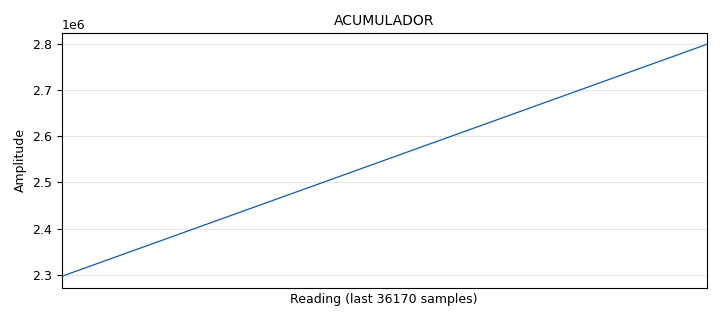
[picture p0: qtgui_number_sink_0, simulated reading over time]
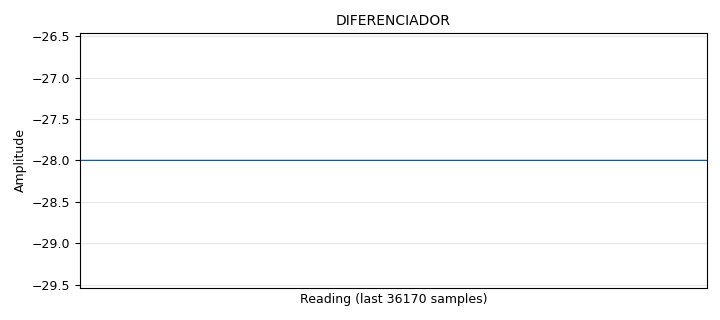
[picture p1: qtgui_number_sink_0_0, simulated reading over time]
options:
  parameters:
    generate_options: qt_gui
    id: Acumulador
    output_language: python
    title: Not titled yet
  states: {}

blocks:
- name: samp_rate
  id: variable
  parameters:
    value: '32000'
  states: {}
- name: blocks_vector_source_x_0
  id: blocks_vector_source_x
  parameters:
    repeat: 'True'
    type: float
    vector: (2, 10, 30)
  states: {}
- name: epy_block_0
  id: epy_block
  parameters:
    _source_code: |
      """
      Embedded Python Blocks:

      Each time this file is saved, GRC will instantiate the first class it finds
      to get ports and parameters of your block. The arguments to __init__  will
      be the parameters. All of them are required to have default values!
      """

      import numpy as np
      from gnuradio import gr

      class blk(gr.sync_block):
          """Embedded Python Block example - a simple accumulate block"""

          def __init__(self):
              """Constructor for the accumulate block."""
              gr.sync_block.__init__(
                  self,
                  name='e_Acum',   # Name of the block in GRC
                  in_sig=[np.float32],  # Input signature: single stream of float32
                  out_sig=[np.float32]  # Output signature: single stream of float32
              )
              # Initialize an internal state variable to keep track of the cumulative sum
              self.accumulator = np.float32(0.0)

          def work(self, input_items, output_items):
              """Accumulate the input items and produce the output."""
              x = input_items[0]  # Input items
              y0 = output_items[0]  # Output items

              # Calculate the cumulative sum for the current input items
              y0[:] = np.cumsum(x) + self.accumulator

              # Update the internal accumulator with the last value of the cumulative sum
              self.accumulator = y0[-1]

              return len(y0)  # Return the number of output items processed
  states: {}
- name: epy_block_1
  id: epy_block
  parameters:
    _source_code: |
      """
      Embedded Python Blocks:

      Each time this file is saved, GRC will instantiate the first class it finds
      to get ports and parameters of your block. The arguments to __init__  will
      be the parameters. All of them are required to have default values!
      """

      import numpy as np
      from gnuradio import gr

      class blk(gr.sync_block):
          """Embedded Python Block example - a simple differentiator block"""

          def __init__(self):
              """Constructor for the differentiator block."""
              gr.sync_block.__init__(
                  self,
                  name='e_Diff',   # Name of the block in GRC
                  in_sig=[np.float32],  # Input signature: single stream of float32
                  out_sig=[np.float32]  # Output signature: single stream of float32
              )
              # Initialize an internal state variable to keep track of the previous value
              self.prev_value = np.float32(0.0)

          def work(self, input_items, output_items):
              """Differentiate the input items and produce the output."""
              x = input_items[0]  # Input items
              y0 = output_items[0]  # Output items

              # Calculate the difference between consecutive elements
              y0[0] = x[0] - self.prev_value  # First element uses the previous value
              y0[1:] = x[1:] - x[:-1]  # Rest of the elements use the difference between consecutive inputs

              # Update the internal state with the last value of the input
              self.prev_value = x[-1]

              return len(y0)  # Return the number of output items processed
  states: {}
- name: qtgui_number_sink_0
  id: qtgui_number_sink
  parameters:
    graph_type: qtgui.NUM_GRAPH_HORIZ
    name: '"ACUMULADOR"'
    type: float
  states: {}
- name: qtgui_number_sink_0_0
  id: qtgui_number_sink
  parameters:
    graph_type: qtgui.NUM_GRAPH_HORIZ
    name: '"DIFERENCIADOR"'
    type: float
  states: {}

connections:
- [blocks_vector_source_x_0, '0', epy_block_0, '0']
- [blocks_vector_source_x_0, '0', epy_block_1, '0']
- [epy_block_0, '0', qtgui_number_sink_0, '0']
- [epy_block_1, '0', qtgui_number_sink_0_0, '0']

metadata:
  file_format: 1
  grc_version: v3.10.11.0-89-ga17f69e7
